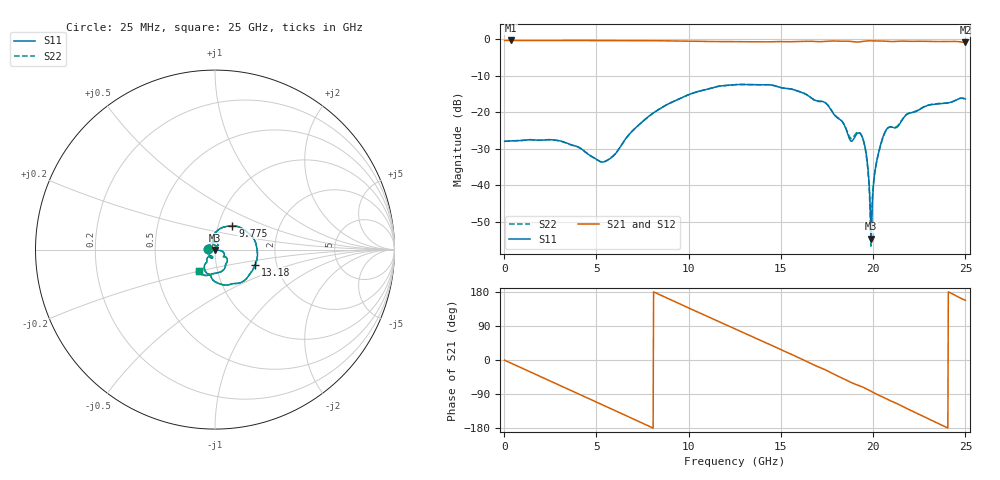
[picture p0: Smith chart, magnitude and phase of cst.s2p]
! R_s4_rect_n4: Finite board 24 × 16 mm, via L1 → L4 through the L2/L3 cavity, four GND vias at 1 mm
! stackup: 4-layer 1.6 mm FR-4
! ports: 1 L1, 2 L4
! CST Studio Suite 2025.5 Release from 2025-05-30, time domain (FIT, hexahedral, PBA), 286000 mesh cells, 52 s
! mesh: {'lpw': 20, 'lpb': 20, 'minstep': 0.0, 'ratio': 20}; ports: port 1 (face); port 2 (face)
! interpolated from CST's 1001 samples to the case grid
# Hz S RI R 50
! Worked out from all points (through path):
!   1000 points, 25 MHz to 25 GHz, reference 50 ohm
!   highest |S21| = -0.36 dB at 375 MHz (marker M1); lowest = -0.9 dB at 25 GHz (marker M2)
!   group delay of S21, straight-line fit = 62.2 ps
!   lowest |S11| = -54.6 dB at 19.9 GHz (marker M3), VSWR 1.00, Z = 50.1 - j0.167 ohm
!   |S11| at or under -10 dB: start of sweep to end of sweep
!   |S22| runs from -56.7 to -12.4 dB; largest |S21 - S12| = 7.6e-07
!   S11 on the Smith chart (normalised r, x): 25 MHz: 0.92, +0.00; 9.775 GHz: 1.17, +0.32; 13.18 GHz: 1.55, -0.28; 25 GHz: 0.81, -0.20
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2.5e7  -0.04 0.000667  0.9596 -0.00928  0.9596 -0.00928  -0.04 0.000671
3.75e8  -0.0392 0.0105  0.9498 -0.1391  0.9498 -0.1391  -0.0392 0.0105
2.475e9  -0.00157 0.0421  0.5508 -0.7844  0.5508 -0.7844  -0.00153 0.042
4.2e9  0.0175 0.0261  -0.0535 -0.9558  -0.0535 -0.9558  0.0174 0.026
5.55e9  0.00237 0.0216  -0.5239 -0.801  -0.5239 -0.801  0.00217 0.0216
7.025e9  -0.0131 0.0564  -0.8738 -0.3876  -0.8738 -0.3876  -0.0131 0.0564
8.35e9  0.0149 0.1068  -0.9467 0.0967  -0.9467 0.0967  0.015 0.1069
9.775e9  0.0968 0.1336  -0.7434 0.5749  -0.7434 0.5749  0.0963 0.1324
1.2525e10  0.2367 -0.0282  0.1328 0.9154  0.1328 0.9154  0.2366 -0.0287
1.3175e10  0.2237 -0.0851  0.3555 0.8513  0.3555 0.8513  0.2234 -0.0858
1.495e10  0.11 -0.1888  0.8141 0.4387  0.8141 0.4387  0.1097 -0.1895
1.6675e10  -0.021 -0.1538  0.9197 -0.1676  0.9197 -0.1676  -0.0218 -0.1527
1.75e10  -0.0575 -0.1147  0.8284 -0.4428  0.8284 -0.4428  -0.0553 -0.1163
1.88e10  -0.0194 -0.0353  0.4767 -0.7976  0.4767 -0.7976  -0.0207 -0.0385
1.935e10  -0.0289 -0.0399  0.322 -0.8662  0.322 -0.8662  -0.0316 -0.038
1.96e10  -0.0253 -0.0153  0.2379 -0.9126  0.2379 -0.9126  -0.0253 -0.013
1.98e10  -0.00819 -0.00322  0.1555 -0.9364  0.1555 -0.9364  -0.00715 -0.00229
1.99e10  0.000832 -0.00167  0.1137 -0.9421  0.1137 -0.9421  0.00187 -0.00144
2.025e10  0.0247 -0.00404  -0.0254 -0.9461  -0.0254 -0.9461  0.0243 -0.00459
2.085e10  0.0522 -0.0341  -0.2532 -0.8953  -0.2532 -0.8953  0.0527 -0.0326
2.3025e10  0.0411 -0.1181  -0.8495 -0.38  -0.8495 -0.38  0.0406 -0.1191
2.5e10  -0.0908 -0.1213  -0.8329 0.3436  -0.8329 0.3436  -0.091 -0.1184
